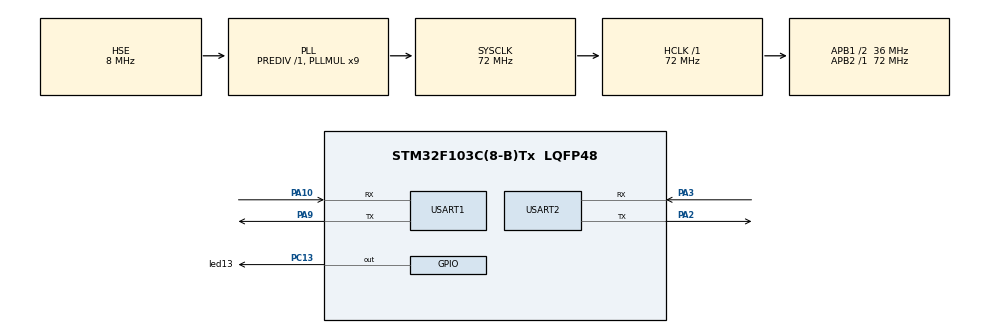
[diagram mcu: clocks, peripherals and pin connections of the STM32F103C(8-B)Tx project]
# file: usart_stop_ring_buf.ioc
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Mcu.Family=STM32F1
Mcu.Name=STM32F103C(8-B)Tx
Mcu.Package=LQFP48
NVIC.PriorityGroup=NVIC_PRIORITYGROUP_4
NVIC.TIM1_UP_IRQn=true\:1\:0\:true\:false\:true\:true
NVIC.USART1_IRQn=true\:0\:0\:false\:false\:true\:true
PA10.Mode=Asynchronous
PA10.Signal=USART1_RX
PA13.Mode=Trace_Asynchronous_SW
PA13.Signal=SYS_JTMS-SWDIO
PA14.Mode=Trace_Asynchronous_SW
PA14.Signal=SYS_JTCK-SWCLK
PA2.Mode=Asynchronous
PA2.Signal=USART2_TX
PA3.Mode=Asynchronous
PA3.Signal=USART2_RX
PA9.Mode=Asynchronous
PA9.Signal=USART1_TX
PB3.Mode=Trace_Asynchronous_SW
PB3.Signal=SYS_JTDO-TRACESWO
PC13-TAMPER-RTC.GPIO_Label=led13
PC13-TAMPER-RTC.PinState=GPIO_PIN_SET
PC13-TAMPER-RTC.Signal=GPIO_Output
PD0-OSC_IN.Mode=HSE-External-Oscillator
PD0-OSC_IN.Signal=RCC_OSC_IN
PD1-OSC_OUT.Mode=HSE-External-Oscillator
PD1-OSC_OUT.Signal=RCC_OSC_OUT
ProjectManager.HeapSize=0x200
ProjectManager.StackSize=0x400
ProjectManager.TargetToolchain=TrueSTUDIO
RCC.AHBFreq_Value=72000000
RCC.APB1CLKDivider=RCC_HCLK_DIV2
RCC.APB1Freq_Value=36000000
RCC.APB1TimFreq_Value=72000000
RCC.APB2Freq_Value=72000000
RCC.APB2TimFreq_Value=72000000
RCC.HCLKFreq_Value=72000000
RCC.PLLMUL=RCC_PLL_MUL9
RCC.PLLSourceVirtual=RCC_PLLSOURCE_HSE
RCC.SYSCLKFreq_VALUE=72000000
RCC.SYSCLKSource=RCC_SYSCLKSOURCE_PLLCLK
RCC.USBFreq_Value=72000000
TIM1.Period=700
TIM1.Prescaler=720
USART1.VirtualMode=VM_ASYNC
USART2.VirtualMode=VM_ASYNC
VP_TIM1_VS_ClockSourceINT.Mode=Internal
board=custom

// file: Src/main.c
/* USER CODE BEGIN Header */

/* USER CODE END Header */

#include "main.h"

/* USER CODE BEGIN Includes */
#include "string.h"
/* USER CODE END Includes */

/* USER CODE BEGIN PD */
#define BUF_OUT 256
// размер входного буфера в файле main.h
/* USER CODE END PD */

TIM_HandleTypeDef htim1;

UART_HandleTypeDef huart1;
UART_HandleTypeDef huart2;

/* USER CODE BEGIN PV */
volatile uint8_t buff_main[SIZE_BUF] = {0,};
volatile myuBUF_t index_r = 0;
volatile myuBUF_t index_w = 0;
/* USER CODE END PV */

void SystemClock_Config(void);
static void MX_GPIO_Init(void);
static void MX_USART1_UART_Init(void);
static void MX_USART2_UART_Init(void);
static void MX_TIM1_Init(void);

/* USER CODE BEGIN 0 */
char ch = 65;
char *p;

void HAL_TIM_PeriodElapsedCallback(TIM_HandleTypeDef *htim)
{
	if(htim->Instance == TIM1)
	{
		ch++;
		if(ch > 89) ch = 65;
		p = (char*)&ch;
		HAL_UART_Transmit(&huart2, (uint8_t*)p, 1, 1000);
	}
}

uint8_t GetByte()
{
	myuBUF_t new_dat = (myuBUF_t)index_w - (myuBUF_t)index_r; // кол-во новых байт в буфере

	if(new_dat > 0)
	{
		uint8_t sym = buff_main[index_r++ & BUFFER_MASK]; // прочитать символ из буфера и инкрементировать индекс
		return sym;
	}

	return 0;
}

/* USER CODE END 0 */

int main(void)
{

  /* MCU Configuration--------------------------------------------------------*/

  /* Reset of all peripherals, Initializes the Flash interface and the Systick. */
  HAL_Init();

  /* Configure the system clock */
  SystemClock_Config();

  /* Initialize all configured peripherals */
  MX_GPIO_Init();
  MX_USART1_UART_Init();
  MX_USART2_UART_Init();
  MX_TIM1_Init();
  /* USER CODE BEGIN 2 */
  HAL_TIM_Base_Start_IT(&htim1);
  __HAL_UART_ENABLE_IT(&huart1, UART_IT_RXNE); // прерывание при появлении данных в приёмном регистре - DR
  uint8_t read_buff[SIZE_BUF + 1] = {0,}; // + 1 для корректного вывода на печать

  // для вывода на печать
  char trans_str[BUF_OUT] = {0,};
  char dot_str[SIZE_BUF * 2 + 10] = {0,};
  /* USER CODE END 2 */

  /* Infinite loop */
  /* USER CODE BEGIN WHILE */
  while (1)
  {
	  HAL_Delay(595);

	  myuBUF_t new_dat = (myuBUF_t)index_w - (myuBUF_t)index_r; // кол-во новых байт в буфере

	  /*if(new_dat > 0)
	  {
		  for(myuBUF_t i = 0; i < 1; i++) // указать кол-во считываемых символов
		  {
			  read_buff[i] = GetByte();
		  }

		  snprintf(trans_str, SIZE_BUF + 12, "Buff_main: %s", buff_main);
		  HAL_UART_Transmit(&huart1, (uint8_t*)trans_str, strlen(trans_str), 1000);
		  HAL_UART_Transmit(&huart1, (uint8_t*)"\r\n", 2, 1000);

		  snprintf(trans_str, BUF_OUT - 1, "Read_buff: %s \nNew_dat: %d, index_r: %d, index_w: %d_END\n------------\n", read_buff, new_dat, (index_r & BUFFER_MASK), (index_w & BUFFER_MASK));
		  HAL_UART_Transmit(&huart1, (uint8_t*)trans_str, strlen(trans_str), 1000);
	  }
	  else
	  {
		  snprintf(trans_str, 30, "Not new_dat: %d_END\n", new_dat); // если в буфере ничего нового не появилось
		  HAL_UART_Transmit(&huart1, (uint8_t*)trans_str, strlen(trans_str), 1000);
	  }*/

	  //////////////////////////////// все что ниже, сделано для демонстрации, можно удалить /////////////////////////////////////////
	  if(new_dat > 0)
	  {
		  snprintf(trans_str, BUF_OUT - 1, "------------\nNew_dat: %d, index_r: %d, index_w: %d_END\n", new_dat, (index_r & BUFFER_MASK), (index_w & BUFFER_MASK));
		  HAL_UART_Transmit(&huart1, (uint8_t*)trans_str, strlen(trans_str), 1000);

		  myuBUF_t ns = 0;
		  ns = (index_w & BUFFER_MASK);
		  ns = ((ns - 1) & BUFFER_MASK);

		  snprintf(trans_str, BUF_OUT - 1, "%s|%c| write\n", dot_str, buff_main[ns]);
		  HAL_UART_Transmit(&huart1, (uint8_t*)trans_str, strlen(trans_str), 1000);

		  for(myuBUF_t i = 0; i < SIZE_BUF; i++)
		  {
			  if(i == SIZE_BUF - 1)
			  {
				  snprintf(trans_str, 5, "|%c|\n", buff_main[i]);
			  }
			  else
			  {
				  snprintf(trans_str, SIZE_BUF + 11, "|%c", buff_main[i]);
			  }

			  HAL_UART_Transmit(&huart1, (uint8_t*)trans_str, strlen(trans_str), 1000);
		  }

		  memset(dot_str, 0, SIZE_BUF * 2 + 10);

		  myuBUF_t s = 0;

		  for(myuBUF_t i = 0; i < (index_r & BUFFER_MASK); i++)
		  {
		  	dot_str[s] = ' ';
		  	s++;
		  	dot_str[s] = ' ';
		  	s++;
		  }

		  for(myuBUF_t i = 0; i < 1; i++)
		  {
		  		read_buff[i] = GetByte();
		  }

		  snprintf(trans_str, BUF_OUT - 1, "%s|%s| read\n", dot_str, read_buff);
		  HAL_UART_Transmit(&huart1, (uint8_t*)trans_str, strlen(trans_str), 1000);

		  snprintf(trans_str, BUF_OUT - 1, "index_r: %d_END\n", (index_r & BUFFER_MASK));
		  HAL_UART_Transmit(&huart1, (uint8_t*)trans_str, strlen(trans_str), 1000);
	  }
	  else
	  {
		  snprintf(trans_str, 30, "Not new_dat: %d_END\n", new_dat); // если в буфере ничего нового не появилось
		  HAL_UART_Transmit(&huart1, (uint8_t*)trans_str, strlen(trans_str), 1000);
	  }

    /* USER CODE END WHILE */

  }
}

void SystemClock_Config(void)
{
  RCC_OscInitTypeDef RCC_OscInitStruct = {0};
  RCC_ClkInitTypeDef RCC_ClkInitStruct = {0};

  /**Initializes the CPU, AHB and APB busses clocks
  */
  RCC_OscInitStruct.OscillatorType = RCC_OSCILLATORTYPE_HSE;
  RCC_OscInitStruct.HSEState = RCC_HSE_ON;
  RCC_OscInitStruct.HSEPredivValue = RCC_HSE_PREDIV_DIV1;
  RCC_OscInitStruct.HSIState = RCC_HSI_ON;
  RCC_OscInitStruct.PLL.PLLState = RCC_PLL_ON;
  RCC_OscInitStruct.PLL.PLLSource = RCC_PLLSOURCE_HSE;
  RCC_OscInitStruct.PLL.PLLMUL = RCC_PLL_MUL9;
  if (HAL_RCC_OscConfig(&RCC_OscInitStruct) != HAL_OK)
  {
    Error_Handler();
  }
  /**Initializes the CPU, AHB and APB busses clocks
  */
  RCC_ClkInitStruct.ClockType = RCC_CLOCKTYPE_HCLK|RCC_CLOCKTYPE_SYSCLK
                              |RCC_CLOCKTYPE_PCLK1|RCC_CLOCKTYPE_PCLK2;
  RCC_ClkInitStruct.SYSCLKSource = RCC_SYSCLKSOURCE_PLLCLK;
  RCC_ClkInitStruct.AHBCLKDivider = RCC_SYSCLK_DIV1;
  RCC_ClkInitStruct.APB1CLKDivider = RCC_HCLK_DIV2;
  RCC_ClkInitStruct.APB2CLKDivider = RCC_HCLK_DIV1;

  if (HAL_RCC_ClockConfig(&RCC_ClkInitStruct, FLASH_LATENCY_2) != HAL_OK)
  {
    Error_Handler();
  }
}

static void MX_TIM1_Init(void)
{

  TIM_ClockConfigTypeDef sClockSourceConfig = {0};
  TIM_MasterConfigTypeDef sMasterConfig = {0};

  htim1.Instance = TIM1;
  htim1.Init.Prescaler = 720;
  htim1.Init.CounterMode = TIM_COUNTERMODE_UP;
  htim1.Init.Period = 700;
  htim1.Init.ClockDivision = TIM_CLOCKDIVISION_DIV1;
  htim1.Init.RepetitionCounter = 0;
  htim1.Init.AutoReloadPreload = TIM_AUTORELOAD_PRELOAD_DISABLE;
  if (HAL_TIM_Base_Init(&htim1) != HAL_OK)
  {
    Error_Handler();
  }
  sClockSourceConfig.ClockSource = TIM_CLOCKSOURCE_INTERNAL;
  if (HAL_TIM_ConfigClockSource(&htim1, &sClockSourceConfig) != HAL_OK)
  {
    Error_Handler();
  }
  sMasterConfig.MasterOutputTrigger = TIM_TRGO_RESET;
  sMasterConfig.MasterSlaveMode = TIM_MASTERSLAVEMODE_DISABLE;
  if (HAL_TIMEx_MasterConfigSynchronization(&htim1, &sMasterConfig) != HAL_OK)
  {
    Error_Handler();
  }

}

static void MX_USART1_UART_Init(void)
{

  huart1.Instance = USART1;
  huart1.Init.BaudRate = 115200;
  huart1.Init.WordLength = UART_WORDLENGTH_8B;
  huart1.Init.StopBits = UART_STOPBITS_1;
  huart1.Init.Parity = UART_PARITY_NONE;
  huart1.Init.Mode = UART_MODE_TX_RX;
  huart1.Init.HwFlowCtl = UART_HWCONTROL_NONE;
  huart1.Init.OverSampling = UART_OVERSAMPLING_16;
  if (HAL_UART_Init(&huart1) != HAL_OK)
  {
    Error_Handler();
  }

}

static void MX_USART2_UART_Init(void)
{

  huart2.Instance = USART2;
  huart2.Init.BaudRate = 115200;
  huart2.Init.WordLength = UART_WORDLENGTH_8B;
  huart2.Init.StopBits = UART_STOPBITS_1;
  huart2.Init.Parity = UART_PARITY_NONE;
  huart2.Init.Mode = UART_MODE_TX_RX;
  huart2.Init.HwFlowCtl = UART_HWCONTROL_NONE;
  huart2.Init.OverSampling = UART_OVERSAMPLING_16;
  if (HAL_UART_Init(&huart2) != HAL_OK)
  {
    Error_Handler();
  }

}

static void MX_GPIO_Init(void)
{
  GPIO_InitTypeDef GPIO_InitStruct = {0};

  /* GPIO Ports Clock Enable */
  __HAL_RCC_GPIOC_CLK_ENABLE();
  __HAL_RCC_GPIOD_CLK_ENABLE();
  __HAL_RCC_GPIOA_CLK_ENABLE();
  __HAL_RCC_GPIOB_CLK_ENABLE();

  /*Configure GPIO pin Output Level */
  HAL_GPIO_WritePin(led13_GPIO_Port, led13_Pin, GPIO_PIN_SET);

  /*Configure GPIO pin : led13_Pin */
  GPIO_InitStruct.Pin = led13_Pin;
  GPIO_InitStruct.Mode = GPIO_MODE_OUTPUT_PP;
  GPIO_InitStruct.Pull = GPIO_NOPULL;
  GPIO_InitStruct.Speed = GPIO_SPEED_FREQ_LOW;
  HAL_GPIO_Init(led13_GPIO_Port, &GPIO_InitStruct);

}

/* USER CODE BEGIN 4 */
int _write(int32_t file, uint8_t *ptr, int32_t len) // instrumentation trace macrocell (ITM)
{
	int i;
	for(i = 0; i < len; i++)
		ITM_SendChar(*ptr++);

	return len;
}
/* USER CODE END 4 */

void Error_Handler(void)
{
  /* USER CODE BEGIN Error_Handler_Debug */
  /* User can add his own implementation to report the HAL error return state */
	HAL_GPIO_WritePin(led13_GPIO_Port, led13_Pin, GPIO_PIN_RESET);
  /* USER CODE END Error_Handler_Debug */
}

/************************ (C) COPYRIGHT STMicroelectronics *****END OF FILE****/
